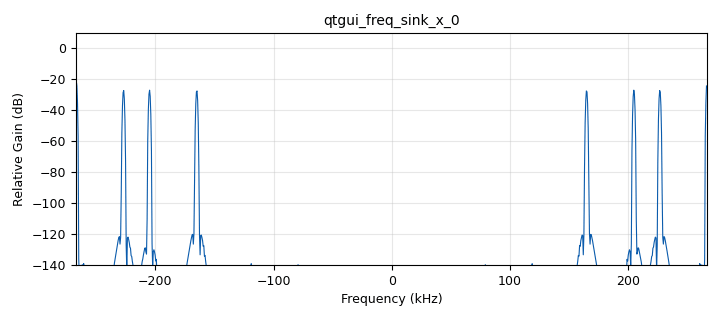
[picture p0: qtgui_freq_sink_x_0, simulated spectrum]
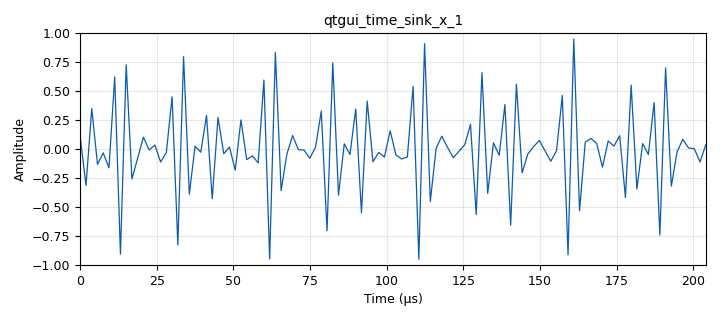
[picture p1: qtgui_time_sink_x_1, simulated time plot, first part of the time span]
options:
  parameters:
    author: Damian Morales 2180389
    generate_options: qt_gui
    id: Practica1_p3_g6
    output_language: python
    title: Multiplicacion
  states: {}

blocks:
- name: samp_rate
  id: variable
  parameters:
    value: '66960000'
  states: {state: disabled}
- name: samp_rate
  id: variable_qtgui_range
  parameters:
    label: Frecuencia muestreo
    start: '10000'
    step: '1000'
    stop: 68e6
    value: 2*(2e4+216e3+31e3)
  states: {}
- name: analog_sig_source_x_0
  id: analog_sig_source_x
  parameters:
    amp: '1'
    freq: '20000'
    offset: '0'
    phase: '0'
    samp_rate: samp_rate
    type: float
    waveform: analog.GR_COS_WAVE
  states: {}
- name: analog_sig_source_x_0_0
  id: analog_sig_source_x
  parameters:
    amp: '1'
    freq: '31000'
    offset: '0'
    phase: '0'
    samp_rate: samp_rate
    type: float
    waveform: analog.GR_COS_WAVE
  states: {}
- name: analog_sig_source_x_0_1
  id: analog_sig_source_x
  parameters:
    amp: '1'
    freq: '216000'
    offset: '0'
    phase: '0'
    samp_rate: samp_rate
    type: float
    waveform: analog.GR_COS_WAVE
  states: {}
- name: blocks_multiply_xx_0
  id: blocks_multiply_xx
  parameters:
    num_inputs: '3'
    type: float
  states: {}
- name: qtgui_freq_sink_x_0
  id: qtgui_freq_sink_x
  parameters:
    bw: samp_rate
    fc: '0'
    fftsize: '1024'
    type: float
  states: {}
- name: qtgui_time_sink_x_1
  id: qtgui_time_sink_x
  parameters:
    size: '1024'
    srate: samp_rate
    type: float
  states: {}

connections:
- [analog_sig_source_x_0, '0', blocks_multiply_xx_0, '0']
- [analog_sig_source_x_0_0, '0', blocks_multiply_xx_0, '2']
- [analog_sig_source_x_0_1, '0', blocks_multiply_xx_0, '1']
- [blocks_multiply_xx_0, '0', qtgui_freq_sink_x_0, '0']
- [blocks_multiply_xx_0, '0', qtgui_time_sink_x_1, '0']

metadata:
  file_format: 1
